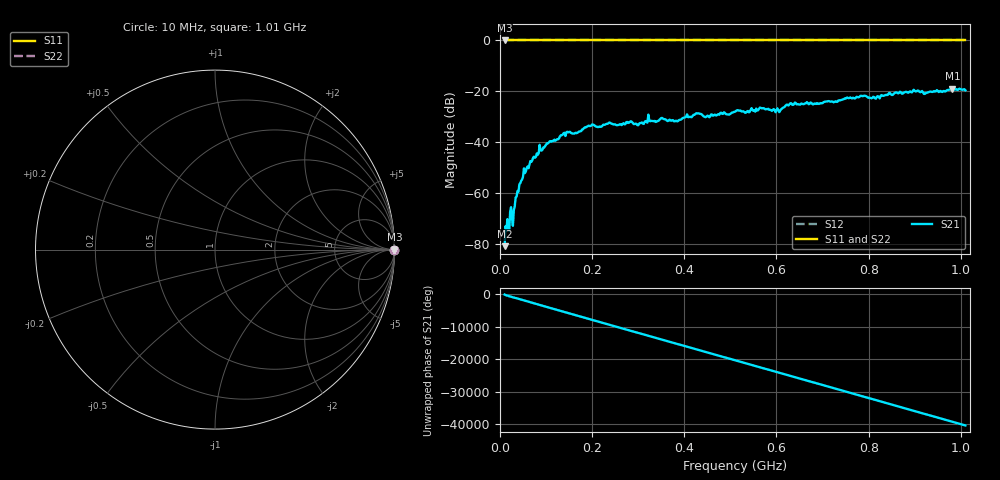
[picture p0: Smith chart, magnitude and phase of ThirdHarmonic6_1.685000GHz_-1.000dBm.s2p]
! 8/16/2025 8:13:53 PM
! C:\ANRITSUVNA\TEMP\TEMP.S2P
! CHANNEL.1
! TR.MEASUREMENT
! RAW.DATA
! RF.CORRECTION.OFF
! AVERAGING.OFF
! IF.BANDWIDTH: 5KHZ
! SWEEPTYPE:  FREQ.SWEEP(Linear)
! Reference Plane Port Info
! PORT:  PORT1  PORT2
! DISTANCE:  0  m  0  m
! TIME:  0  s  0  s
! PHASE.OFFSET:  0  deg.  0  deg.
! LOSS:  0  dB  0  dB
! REF.LOSS:  0  dB  0  dB
! REF.FREQ:  0  Hz  0  Hz
! Power Info
! POWER:  -20  dBm  -20  dBm
! EFF.POWER:  -20  dBm  -20  dBm
! SOURCE.ATTEN:  0  dB  0  dB
! TEST.ATTEN:  0  dB  0  dB
# GHZ S RI R 50.0
! FREQ.GHZ  S11RE  S11IM  S21RE  S21IM  S12RE  S12IM  S22RE  S22IM
!; PortSelection: Port_12
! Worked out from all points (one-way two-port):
!   501 points, 10 MHz to 1.01 GHz, reference 50 ohm
!   highest |S21| = -18.96 dB at 982 MHz (marker M1); lowest = -80.7 dB at 10 MHz (marker M2)
!   lowest |S11| = 0.0 dB at 10 MHz (marker M3)
!   |S11| at or under -10 dB: nowhere
!   |S22| runs from 0.0 to 0.0 dB; largest |S21 - S12| = 1.1
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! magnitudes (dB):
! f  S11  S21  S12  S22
! 10 MHz  0.0  -80.7  0.0  0.0
! 20 MHz  0.0  -74.7  0.0  0.0
! 30 MHz  0.0  -66.6  0.0  0.0
! 38 MHz  0.0  -59.0  0.0  0.0
! 48 MHz  0.0  -54.6  0.0  0.0
! 70 MHz  0.0  -47.0  0.0  0.0
! 106 MHz  0.0  -40.0  0.0  0.0
! 148 MHz  0.0  -36.1  0.0  0.0
! 178 MHz  0.0  -35.0  0.0  0.0
! 200 MHz  0.0  -33.0  0.0  0.0
! 344 MHz  0.0  -31.5  0.0  0.0
! 382 MHz  0.0  -31.5  0.0  0.0
! 428 MHz  0.0  -28.6  0.0  0.0
! 450 MHz  0.0  -29.5  0.0  0.0
! 510 MHz  0.0  -28.0  0.0  0.0
! 568 MHz  0.0  -26.6  0.0  0.0
! 602 MHz  0.0  -26.6  0.0  0.0
! 628 MHz  0.0  -25.1  0.0  0.0
! 678 MHz  0.0  -25.0  0.0  0.0
! 844 MHz  0.0  -20.7  0.0  0.0
! 982 MHz  0.0  -19.0  0.0  0.0
! 1.01 GHz  0.0  -19.6  0.0  0.0
